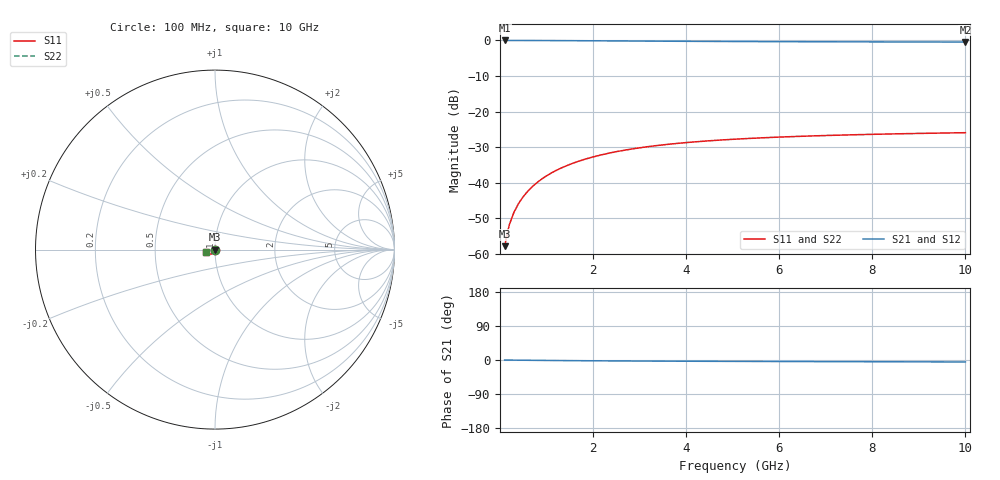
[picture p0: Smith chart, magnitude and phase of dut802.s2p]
! Touchstone file exported from HFSS 2024.1.0
!  File:  C:/UserFiles/LocalFiles/RDL_TSV_Batchsim/temp_TSV1_802_1779876550.aedt
!  Generated:  06:13:50 PM May 27, 2026
!  Design:  TSV1
!  Project:  temp_TSV1_802_1779876550
!  Setup:  Setup1
!  Solution:  Sweep
! Variables:
!  dtsv = 9.76um
!  hbump = 3um
!  htsv = 81.83um
!  lrdl = 252.1521522um
!  p = 40
!  p1 = 40.78um
!  t = 500um
!  trdl = 3um
!  wrdl = 24.89489489um
# GHz S MA R 50.000000
! Terminal data exported
! Port[1] = TSV22_T1
! Port[2] = TSV22_T2
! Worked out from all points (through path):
!   100 points, 100 MHz to 10 GHz, reference 50 ohm
!   highest |S21| = 0.00 dB at 100 MHz (marker M1); lowest = -0.4 dB at 10 GHz (marker M2)
!   lowest |S11| = -57.8 dB at 100 MHz (marker M3), VSWR 1.00, Z = 50 - j0.128 ohm
!   |S11| at or under -10 dB: start of sweep to end of sweep
!   |S22| runs from -57.8 to -25.9 dB; largest |S21 - S12| = 5.2e-15
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0.1  0.001284 -84.4  0.9998 -0.1  0.9998 -0.1  0.001284 -84.4
! Gamma 0 0 0 0
! Port Impedance 50 0 50 0
0.2  0.002557 -89.3  0.9997 -0.2  0.9997 -0.2  0.002557 -89.3
0.3  0.003834 -91.9  0.9995 -0.4  0.9995 -0.4  0.003834 -91.9
0.4  0.005108 -93.9  0.9992 -0.5  0.9992 -0.5  0.005108 -93.9
0.5  0.006375 -95.8  0.9989 -0.6  0.9989 -0.6  0.006375 -95.8
0.6  0.007632 -97.5  0.9986 -0.7  0.9986 -0.7  0.007632 -97.5
0.7  0.008874 -99.2  0.9981 -0.8  0.9981 -0.8  0.008874 -99.2
0.8  0.0101 -100.8  0.9976 -0.9  0.9976 -0.9  0.0101 -100.8
0.9  0.01131 -102.4  0.9971 -1.0  0.9971 -1.0  0.01131 -102.4
1.1  0.01367 -105.4  0.9959 -1.3  0.9959 -1.3  0.01367 -105.4
1.4  0.01703 -109.7  0.9938 -1.5  0.9938 -1.5  0.01703 -109.7
1.6  0.01914 -112.4  0.9923 -1.7  0.9923 -1.7  0.01914 -112.4
1.8  0.02115 -115.1  0.9906 -1.9  0.9906 -1.9  0.02115 -115.1
2.1  0.02396 -118.8  0.9881 -2.1  0.9881 -2.1  0.02396 -118.8
2.5  0.02733 -123.4  0.9846 -2.4  0.9846 -2.4  0.02733 -123.4
2.9  0.03029 -127.6  0.9812 -2.7  0.9812 -2.7  0.03029 -127.6
3.4  0.03348 -132.4  0.9772 -3.0  0.9772 -3.0  0.03348 -132.4
4.2  0.0376 -138.9  0.9714 -3.3  0.9714 -3.3  0.0376 -138.9
5.1  0.04112 -145.1  0.966 -3.7  0.966 -3.7  0.04112 -145.1
6.7  0.04548 -153.7  0.9588 -4.2  0.9588 -4.2  0.04548 -153.7
8.4  0.04852 -160.8  0.9535 -4.7  0.9535 -4.7  0.04852 -160.8
10  0.05051 -166.2  0.95 -5.2  0.95 -5.2  0.05051 -166.2
